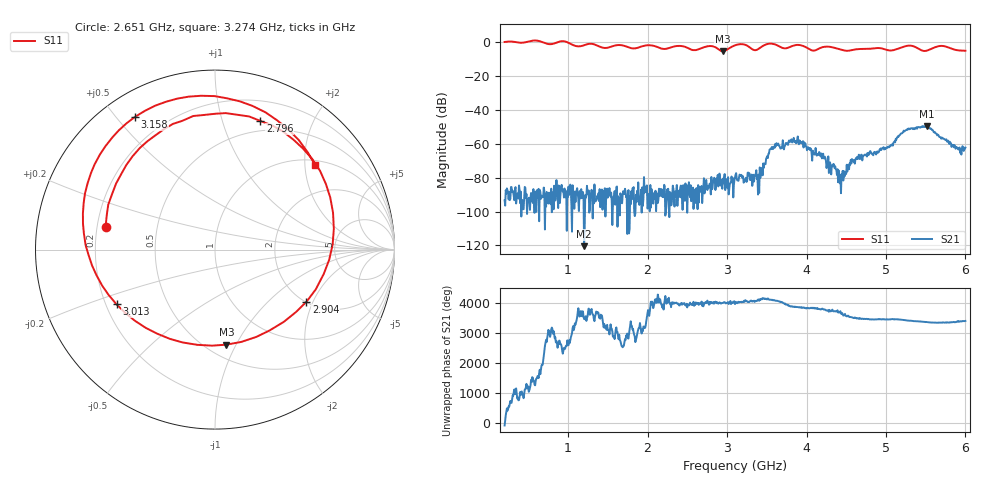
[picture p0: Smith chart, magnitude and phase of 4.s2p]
! NanoVNA-App
! Date: 2024-06-25 16:10:42
! Start: 200MHz Stop: 6GHz Points: 801
! S-Parameter data: F S11 S21 S12 S22
# Hz S RI R 50
!  Frequency  S11_Real  S11_Imag  S21_Real  S21_Imag  S12_Real  S12_Imag  S22_Real  S22_Imag
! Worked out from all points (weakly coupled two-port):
!   801 points, 200 MHz to 6 GHz, reference 50 ohm
!   highest |S21| = -49.62 dB at 5.514 GHz (marker M1); lowest = -120.4 dB at 1.2 GHz (marker M2)
!   lowest |S11| = -5.5 dB at 2.948 GHz (marker M3), VSWR 3.29, Z = 30.9 - j45.7 ohm
!   |S11| at or under -10 dB: nowhere
!   S12 and S22 are empty: the file has one direction only
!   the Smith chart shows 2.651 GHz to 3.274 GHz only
!   S11 on the Smith chart (normalised r, x): 2.651 GHz: 0.23, +0.10; 2.796 GHz: 0.39, +1.34; 2.904 GHz: 2.02, -1.79; 3.013 GHz: 0.24, -0.24; 3.158 GHz: 0.10, +0.56; 3.274 GHz: 1.13, +2.26
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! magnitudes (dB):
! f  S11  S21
! 200 MHz  0.1  -93.4
! 1.171 GHz  -2.3  -92.1
! 1.2 GHz  -1.9  -120.4
! 2.136 GHz  -3.1  -93.2
! 2.651 GHz  -4.1  -85.5
! 2.796 GHz  -2.4  -89.9
! 2.904 GHz  -4.6  -77.6
! 2.948 GHz  -5.5  -80.6
! 3.013 GHz  -4.0  -79.7
! 3.1 GHz  -1.9  -79.8
! 3.158 GHz  -1.3  -78.2
! 3.274 GHz  -2.7  -78.7
! 3.405 GHz  -3.8  -89.0
! 3.615 GHz  -1.6  -61.5
! 3.861 GHz  -1.8  -58.4
! 4.072 GHz  -5.0  -70.0
! 4.441 GHz  -4.6  -77.8
! 4.644 GHz  -4.2  -68.9
! 5.036 GHz  -4.9  -61.8
! 5.253 GHz  -2.4  -51.9
! 5.514 GHz  -5.1  -49.6
! 6 GHz  -5.1  -62.3
